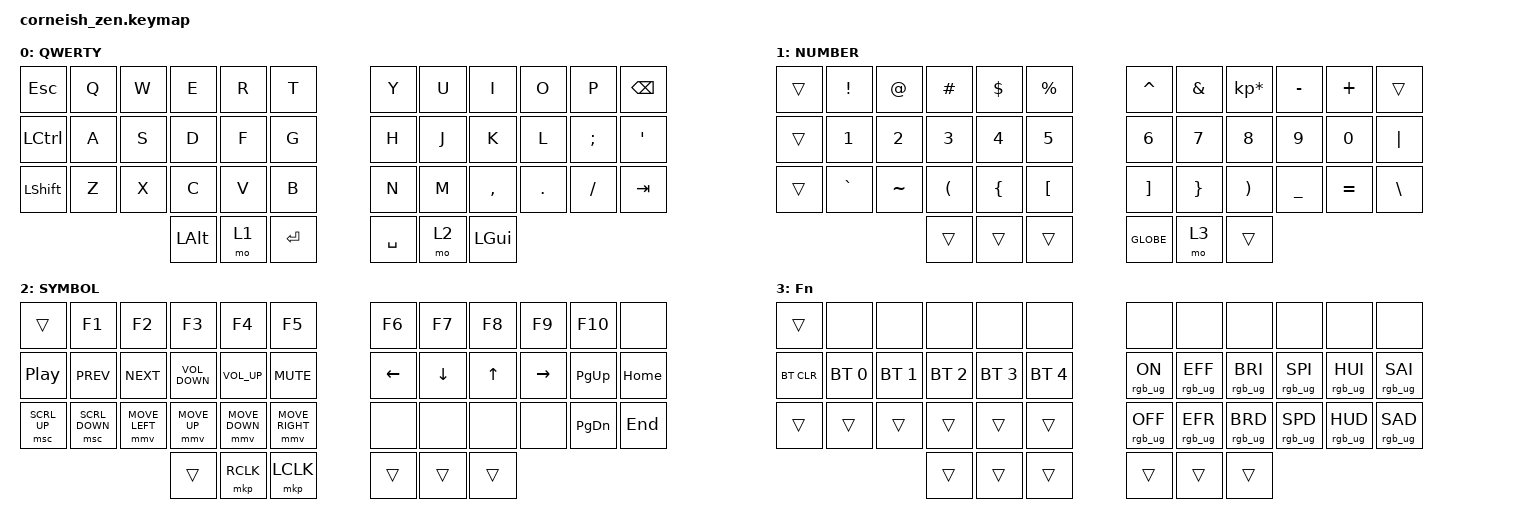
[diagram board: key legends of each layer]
/*
 * Copyright (c) 2020 The ZMK Contributors
 *
 * SPDX-License-Identifier: MIT
 */

#define ZMK_POINTING_DEFAULT_MOVE_VAL 800  // default: 600
#define ZMK_POINTING_DEFAULT_SCRL_VAL 20    // default: 10

#include <dt-bindings/zmk/mouse.h>
#include <behaviors.dtsi>
#include <dt-bindings/zmk/bt.h>
#include <dt-bindings/zmk/keys.h>
#include <dt-bindings/zmk/pointing.h>
#include <dt-bindings/zmk/rgb.h>

&sk { release-after-ms = <2000>; };

/ {
    chosen {
        zmk,matrix_transform = &default_transform;

        // zmk,matrix_transform = &five_column_transform;
    };
};

/ {
    behaviors {
        td0: td0 {
            compatible = "zmk,behavior-tap-dance";
            label = "TD0";
            #binding-cells = <0>;
            bindings = <&kp LEFT_SHIFT>, <&kp CAPS>;
        };
    };

    combos {
        compatible = "zmk,combos";

        left_parenthesis {
            bindings = <&kp LEFT_PARENTHESIS>;
            key-positions = <4 5>;
        };

        right_parenthesis {
            bindings = <&kp RIGHT_PARENTHESIS>;
            key-positions = <6 7>;
        };

        left_brace {
            bindings = <&kp LEFT_BRACE>;
            key-positions = <16 17>;
        };

        right_brace {
            bindings = <&kp RIGHT_BRACE>;
            key-positions = <18 19>;
        };

        left_bracket {
            bindings = <&kp LEFT_BRACKET>;
            key-positions = <28 29>;
        };

        right_bracket {
            bindings = <&kp RIGHT_BRACKET>;
            key-positions = <30 31>;
        };

        caret {
            bindings = <&kp CARET>;
            key-positions = <3 4>;
        };

        dollar {
            bindings = <&kp DOLLAR>;
            key-positions = <7 8>;
        };

        equal {
            bindings = <&kp EQUAL>;
            key-positions = <15 16>;
        };

        underscore {
            bindings = <&kp UNDERSCORE>;
            key-positions = <19 20>;
        };

        exclamation {
            bindings = <&kp EXCLAMATION>;
            key-positions = <27 28>;
        };

        percent {
            bindings = <&kp PERCENT>;
            key-positions = <31 32>;
        };
    };

    keymap {
        compatible = "zmk,keymap";

        default_layer {
            display-name = "QWERTY";

            // --------------------------------------------------------------------------------
            // |  TAB |  Q  |  W  |  E  |  R  |  T  |   |  Y  |  U   |  I  |  O  |  P  | BKSP |
            // | CTRL |  A  |  S  |  D  |  F  |  G  |   |  H  |  J   |  K  |  L  |  ;  |  '   | 
            // | SHFT |  Z  |  X  |  C  |  V  |  B  |   |  N  |  M   |  ,  |  .  |  /  | ESC  |
            //                    | GUI | LWR | SPC |   | ENT | RSE  | ALT |

            bindings = <
&kp ESC         &kp Q  &kp W  &kp E         &kp R  &kp T        &kp Y      &kp U  &kp I      &kp O    &kp P     &kp BSPC
&kp LCTRL       &kp A  &kp S  &kp D         &kp F  &kp G        &kp H      &kp J  &kp K      &kp L    &kp SEMI  &kp SQT
&kp LEFT_SHIFT  &kp Z  &kp X  &kp C         &kp V  &kp B        &kp N      &kp M  &kp COMMA  &kp DOT  &kp FSLH  &kp TAB
                              &kp LEFT_ALT  &mo 1  &kp ENTER    &kp SPACE  &mo 2  &kp LGUI
            >;
        };

        lower_layer {
            display-name = "NUMBER";

            // -----------------------------------------------------------------------------------------
            // |  TAB |  1  |  2  |  3  |  4  |  5  |   |  6  |  7  |  8  |  9  |  0  | BKSP |
            // | BTCLR| BT1 | BT2 | BT3 | BT4 | BT5 |   | LFT | DWN |  UP | RGT |     |      |
            // | SHFT |     |     |     |     |     |   |     |     |     |     |     |      |
            //                    | GUI |     | SPC |   | ENT |     | ALT |

            bindings = <
&trans  &kp EXCL   &kp AT_SIGN  &kp HASH              &kp DOLLAR      &kp PERCENT         &kp CARET          &kp AMPS         &kp KP_MULTIPLY        &kp MINUS       &kp PLUS   &trans
&trans  &kp N1     &kp N2       &kp N3                &kp N4          &kp N5              &kp N6             &kp N7           &kp N8                 &kp N9          &kp N0     &kp PIPE
&trans  &kp GRAVE  &kp TILDE    &kp LEFT_PARENTHESIS  &kp LEFT_BRACE  &kp LEFT_BRACKET    &kp RIGHT_BRACKET  &kp RIGHT_BRACE  &kp RIGHT_PARENTHESIS  &kp UNDERSCORE  &kp EQUAL  &kp BACKSLASH
                                &trans                &trans          &trans              &kp GLOBE          &mo 3            &trans
            >;
        };

        raise_layer {
            display-name = "SYMBOL";

            // -----------------------------------------------------------------------------------------
            // |  TAB |  !  |  @  |  #  |  $  |  %  |   |  ^  |  &  |  *  |  (  |  )  | BKSP |
            // | CTRL |     |     |     |     |     |   |  -  |  =  |  [  |  ]  |  \  |  `   |
            // | SHFT |     |     |     |     |     |   |  _  |  +  |  {  |  }  | "|" |  ~   |
            //                    | GUI |     | SPC |   | ENT |     | ALT |

            bindings = <
&trans        &kp F1          &kp F2          &kp F3             &kp F4           &kp F5             &kp F6    &kp F7    &kp F8  &kp F9     &kp F10        &none
&kp C_PP      &kp C_PREV      &kp C_NEXT      &kp C_VOLUME_DOWN  &kp C_VOLUME_UP  &kp K_MUTE         &kp LEFT  &kp DOWN  &kp UP  &kp RIGHT  &kp PAGE_UP    &kp HOME
&msc SCRL_UP  &msc SCRL_DOWN  &mmv MOVE_LEFT  &mmv MOVE_UP       &mmv MOVE_DOWN   &mmv MOVE_RIGHT    &none     &none     &none   &none      &kp PAGE_DOWN  &kp END
                                              &trans             &mkp RCLK        &mkp LCLK          &trans    &trans    &trans
            >;
        };

        layer_3 {
            display-name = "Fn";
            bindings = <
&trans      &none         &none         &none         &none         &none           &none            &none            &none            &none            &none            &none
&bt BT_CLR  &bt BT_SEL 0  &bt BT_SEL 1  &bt BT_SEL 2  &bt BT_SEL 3  &bt BT_SEL 4    &rgb_ug RGB_ON   &rgb_ug RGB_EFF  &rgb_ug RGB_BRI  &rgb_ug RGB_SPI  &rgb_ug RGB_HUI  &rgb_ug RGB_SAI
&trans      &trans        &trans        &trans        &trans        &trans          &rgb_ug RGB_OFF  &rgb_ug RGB_EFR  &rgb_ug RGB_BRD  &rgb_ug RGB_SPD  &rgb_ug RGB_HUD  &rgb_ug RGB_SAD
                                        &trans        &trans        &trans          &trans           &trans           &trans
            >;
        };
    };
};
